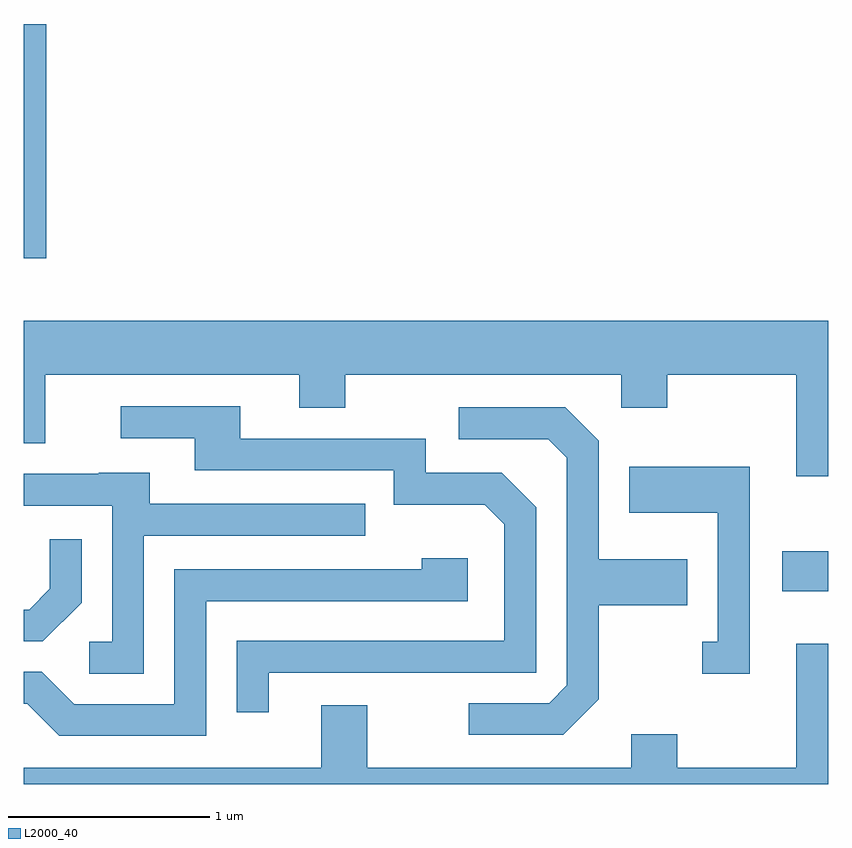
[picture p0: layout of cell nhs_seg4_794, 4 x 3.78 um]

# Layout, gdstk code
import gdstk
lib = gdstk.Library(unit=1e-6, precision=1e-09)
def R(c, l, rs):  # rectangles x0, y0, x1, y1
    for r in rs: c.add(gdstk.rectangle(r[:2], r[2:], *l))
def P(c, l, *ps):  # polygons
    for p in ps: c.add(gdstk.Polygon(p, *l))
L2000_40 = (2000, 40)

nhs_seg4_794 = lib.new_cell('nhs_seg4_794')
R(nhs_seg4_794, L2000_40, [(211.381,1346.941,211.611,1347.139), (207.611,1348.596,207.724,1349.759)])
P(nhs_seg4_794, L2000_40, [(211.611,1348.284),(207.611,1348.284),(207.611,1347.676),(207.719,1347.676),(207.719,1348.016),(208.981,1348.016),(208.981,1347.851),(209.209,1347.851),(209.209,1348.016),(210.581,1348.016),(210.581,1347.851),(210.809,1347.851),(210.809,1348.016),(211.451,1348.016),(211.451,1347.511),(211.611,1347.511)],
  [(208.829,1346.536),(210.159,1346.536),(210.159,1347.357),(209.987,1347.529),(209.609,1347.529),(209.609,1347.699),(208.689,1347.699),(208.689,1347.859),(208.093,1347.859),(208.093,1347.701),(208.461,1347.701),(208.461,1347.541),(209.451,1347.541),(209.451,1347.371),(209.904,1347.371),(210.001,1347.274),(210.001,1346.694),(208.671,1346.694),(208.671,1346.338),(208.829,1346.338)],
  [(210.469,1346.404),(210.469,1346.871),(210.909,1346.871),(210.909,1347.099),(210.469,1347.099),(210.469,1347.687),(210.302,1347.854),(209.773,1347.854),(209.773,1347.696),(210.219,1347.696),(210.311,1347.604),(210.311,1346.472),(210.224,1346.384),(209.823,1346.384),(209.823,1346.226),(210.292,1346.226)],
  [(211.219,1347.559),(210.621,1347.559),(210.621,1347.331),(211.061,1347.331),(211.061,1346.689),(210.983,1346.689),(210.983,1346.531),(211.219,1346.531)],
  [(208.209,1347.216),(209.308,1347.216),(209.308,1347.374),(208.239,1347.374),(208.239,1347.529),(207.985,1347.529),(207.985,1347.524),(207.611,1347.524),(207.611,1347.366),(208.051,1347.366),(208.051,1346.689),(207.938,1346.689),(207.938,1346.531),(208.209,1346.531)],
  [(207.899,1346.884),(207.899,1347.198),(207.741,1347.198),(207.741,1346.952),(207.639,1346.849),(207.611,1346.849),(207.611,1346.691),(207.707,1346.691)],
  [(208.519,1346.891),(209.819,1346.891),(209.819,1347.104),(209.591,1347.104),(209.591,1347.049),(208.361,1347.049),(208.361,1346.379),(207.862,1346.379),(207.702,1346.539),(207.611,1346.539),(207.611,1346.381),(207.629,1346.381),(207.789,1346.221),(208.519,1346.221)],
  [(211.611,1346.679),(211.451,1346.679),(211.451,1346.064),(210.859,1346.064),(210.859,1346.229),(210.631,1346.229),(210.631,1346.064),(209.319,1346.064),(209.319,1346.374),(209.091,1346.374),(209.091,1346.064),(207.611,1346.064),(207.611,1345.982),(211.611,1345.982)])

lib.write_gds('nhs_seg4_794.gds')
